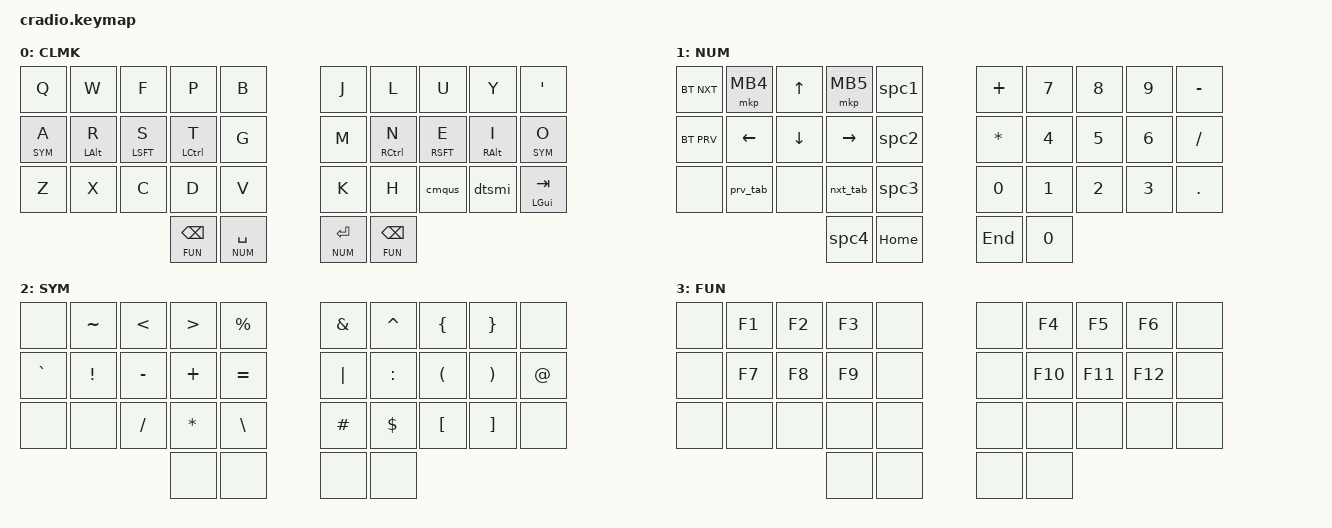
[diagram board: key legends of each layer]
/*
 * Copyright (c) 2020 The ZMK Contributors
 *
 * SPDX-License-Identifier: MIT
 */

#include <behaviors.dtsi>
#include <dt-bindings/zmk/keys.h>
#include <dt-bindings/zmk/bt.h>
#include <dt-bindings/zmk/outputs.h>
#include <dt-bindings/zmk/mouse.h>

#define DEFAULT 0
#define NUM     1
#define SYM     2
#define FUN     3

&mt {
   flavor = "tap-preferred";
   tapping_term_ms = <200>;
};

/ { 
    // macros
    macros {
    ZMK_MACRO(name1,
        wait-ms = <0>;
        tap-ms  = <10>;
        bindings = <&kp U &kp F &kp A &kp N>
                 , <&kp N2 &kp N1 &kp N2 &kp N9>
                 , <&kp UNDERSCORE>
                 , <&kp Z &kp H &kp O &kp U &kp Y &kp O &kp N &kp G>;
    )

    ZMK_MACRO(name2,
        wait-ms = <0>;
        tap-ms  = <10>;
        bindings = <&kp LS(W) &kp N0>
                 , <&kp LS(L) &kp N0 &kp V &kp E>
                 , <&kp LS(Z) &kp I>
                 , <&kp LS(Y) &kp N0 &kp U &kp EXCL>
                 , <&kp UNDERSCORE>
                 , <&kp N0 &kp N5 &kp N3 &kp N2>;
    ) 

    ZMK_MACRO(spc1,
        wait-ms = <0>;
        tap-ms  = <10>;
        bindings = <&kp LA(M) &kp N1>;
    )
    
    ZMK_MACRO(spc2,
        wait-ms = <0>;
        tap-ms  = <10>;
        bindings = <&kp LA(M) &kp N2>;
    )
    
    ZMK_MACRO(spc3,
        wait-ms = <0>;
        tap-ms  = <10>;
        bindings = <&kp LA(M) &kp N3>;
    )
   
    ZMK_MACRO(spc4,
        wait-ms = <0>;
        tap-ms  = <10>;
        bindings = <&kp LA(M) &kp N4>;
    )

    ZMK_MACRO(nxt_tab,
        wait-ms = <0>;
        tap-ms  = <10>;
        bindings = <&kp LC(TAB)>;
    )

    ZMK_MACRO(prv_tab,
        wait-ms = <0>;
        tap-ms  = <10>;
        bindings = <&kp LC(LS(TAB))>;
    )
    };
   
    // custom shift using mod-morph 
    behaviors {
      cmqus: comma_question {
        compatible = "zmk,behavior-mod-morph";
        label = "COMMA_QUESTION";
        #binding-cells = <0>;
        bindings = <&kp COMMA>, <&kp QUESTION>;
        mods = <(MOD_LSFT|MOD_RSFT)>;
      };

      dtsmi: dot_semi {
        compatible = "zmk,behavior-mod-morph";
        label = "DOT_SEMI";
        #binding-cells = <0>;
        bindings = <&kp DOT>, <&kp SEMI>;
        mods = <(MOD_LSFT|MOD_RSFT)>;
        masked_mods = <(MOD_LSFT|MOD_RSFT)>; // don't send shift
      };
    };

    // combos
    combos {
        compatible = "zmk,combos";
        // right hand 
        combo_esc {
            timeout-ms = <50>;
            key-positions = <16 17>;
            bindings = <&kp ESC>;
        };
        
         combo_lgui {
            timeout-ms = <50>;
            key-positions = <5 6>;
            bindings = <&kp LGUI>;
        };
        
         combo_fullscreen {
            timeout-ms = <50>;
            key-positions = <25 26>;
            bindings = <&kp F11>;
        };
        
         combo_wkspc_up {
            timeout-ms = <50>;
            key-positions = <6 7>;
            bindings = <&kp LG(PG_UP)>;
        };
        
         combo_wkspc_down {
            timeout-ms = <50>;
            key-positions = <26 27>;
            bindings = <&kp LG(PG_DN)>;
        };

         combo_win_up {
            timeout-ms = <50>;
            key-positions = <7 8>;
            bindings = <&kp LS(LG(PG_UP))>;
        };
        
         combo_win_down {
            timeout-ms = <50>;
            key-positions = <27 28>;
            bindings = <&kp LS(LG(PG_DN))>;
        };

         combo_win_left {
            timeout-ms = <50>;
            key-positions = <17 18>;
            bindings = <&kp LS(LG(LEFT))>;
        };

         combo_win_right {
            timeout-ms = <50>;
            key-positions = <9 18>;
            bindings = <&kp LS(LG(RIGHT))>;
        };
 
         combo_rdelete {
            timeout-ms = <50>;
            key-positions = <15 16>;
            bindings = <&kp DELETE>;
        };
 
        // left hand 
         combo_ldelete {
            timeout-ms = <50>;
            key-positions = <13 14>;
            bindings = <&kp DELETE>;
        };

        combo_zoomin {
            timeout-ms = <50>;
            key-positions = <3 4>;
            bindings = <&kp LC(PLUS)>;
        };
 
        combo_zoomout {
            timeout-ms = <50>;
            key-positions = <23 24>;
            bindings = <&kp LC(MINUS)>;
        };
 
        combo_pgdn {
            timeout-ms = <50>;
            key-positions = <21 22>;
            bindings = <&kp PG_DN>;
        };
 
        combo_pgup {
            timeout-ms = <50>;
            key-positions = <1 2>;
            bindings = <&kp PG_UP>;
        };

        combo_mb_lclick {
            timeout-ms = <50>;
            key-positions = <12 13>;
            bindings = <&mkp LCLK>;
        };

         combo_mb_rclick {
            timeout-ms = <50>;
            key-positions = <22 23>;
            bindings = <&mkp RCLK>;
        };

         combo_mb_mclick {
            timeout-ms = <50>;
            key-positions = <2 3>;
            bindings = <&mkp MCLK>;
        };
 
        // symbols
        combo_underscore {
            timeout-ms = <50>;
            key-positions = <11 12>;
            bindings = <&kp UNDERSCORE>;
        };

        // others
        combo_capswd {
            timeout-ms = <50>;
            key-positions = <2 7>;
            bindings = <&caps_word>;
        };

        // output selection
        combo_outusb {
            timeout-ms = <50>;
            key-positions = <4 14>;
            bindings = <&out OUT_USB>;
        };
 
        combo_outtog {
            timeout-ms = <50>;
            key-positions = <4 24>;
            bindings = <&out OUT_TOG>;
        };

        // ble selection
        combo_ble1 {
            timeout-ms = <50>;
            key-positions = <14 24>;
            bindings = <&bt BT_SEL 0>;
        };

        combo_ble2 {
            timeout-ms = <50>;
            key-positions = <13 23>;
            bindings = <&bt BT_SEL 1>;
        };

        combo_ble3 {
            timeout-ms = <50>;
            key-positions = <12 22>;
            bindings = <&bt BT_SEL 2>;
        };

        combo_ble4 {
            timeout-ms = <50>;
            key-positions = <11 21>;
            bindings = <&bt BT_SEL 3>;
        };

        combo_ble5 {
            timeout-ms = <50>;
            key-positions = <10 20>;
            bindings = <&bt BT_CLR>;
        };
    };

    keymap {
        compatible = "zmk,keymap";
                
     		default_layer {
            label = "CLMK";
        		bindings = <
            		&kp Q     &kp W             &kp F             &kp P           &kp B         &kp J     &kp L               &kp U      &kp Y   &kp SQT
             		&lt SYM A         &mt LALT R        &mt LSFT S        &mt LCTL T      &kp G         &kp M     &mt RCTL N          &mt RSFT E &mt RALT I &lt SYM O 
                &kp Z     &kp X     &kp C     &kp D   &kp V         &kp K     &kp H       &cmqus     &dtsmi     &mt LGUI TAB
               &lt FUN BSPC  &lt NUM SPACE                               &lt NUM RET     &lt FUN BSPC
             		>;
		    };

        number_layer {
            label = "NUM";
            bindings = <
                &bt BT_NXT  &mkp MB4  &kp UP    &mkp MB5   &spc1      &kp PLUS    &kp N7  &kp N8  &kp N9  &kp MINUS
                &bt BT_PRV  &kp LEFT  &kp DOWN  &kp RIGHT  &spc2      &kp ASTRK   &kp N4  &kp N5  &kp N6  &kp FSLH
                &none       &prv_tab  &none     &nxt_tab   &spc3      &kp N0      &kp N1  &kp N2  &kp N3  &kp DOT
                            &spc4  &kp HOME      &kp END     &kp N0 
            >;
        };

        symbol_layer {
            label = "SYM";
            bindings = <
                &none     &kp TILDE &kp LT    &kp GT   &kp PRCNT      &kp AMPS  &kp CARET  &kp LBRC  &kp RBRC  &none
                &kp GRAVE &kp EXCL  &kp MINUS &kp PLUS &kp EQUAL      &kp PIPE  &kp COLON  &kp LPAR  &kp RPAR  &kp AT
                &none     &none     &kp SLASH &kp STAR &kp BSLH       &kp HASH  &kp DLLR   &kp LBKT  &kp RBKT  &none  
                             &none  &none       &none  &none
            >;
        };

        function_layer {
            label = "FUN";
            bindings = <
                &none  &kp F1  &kp F2  &kp F3  &none       &none &kp F4  &kp F5  &kp F6  &none
                &none  &kp F7  &kp F8  &kp F9  &none       &none &kp F10 &kp F11 &kp F12 &none
                &none  &none   &none   &none   &none       &none &none   &none   &none   &none
                &none   &none       &none &none
            >;
        };
   	};
};
